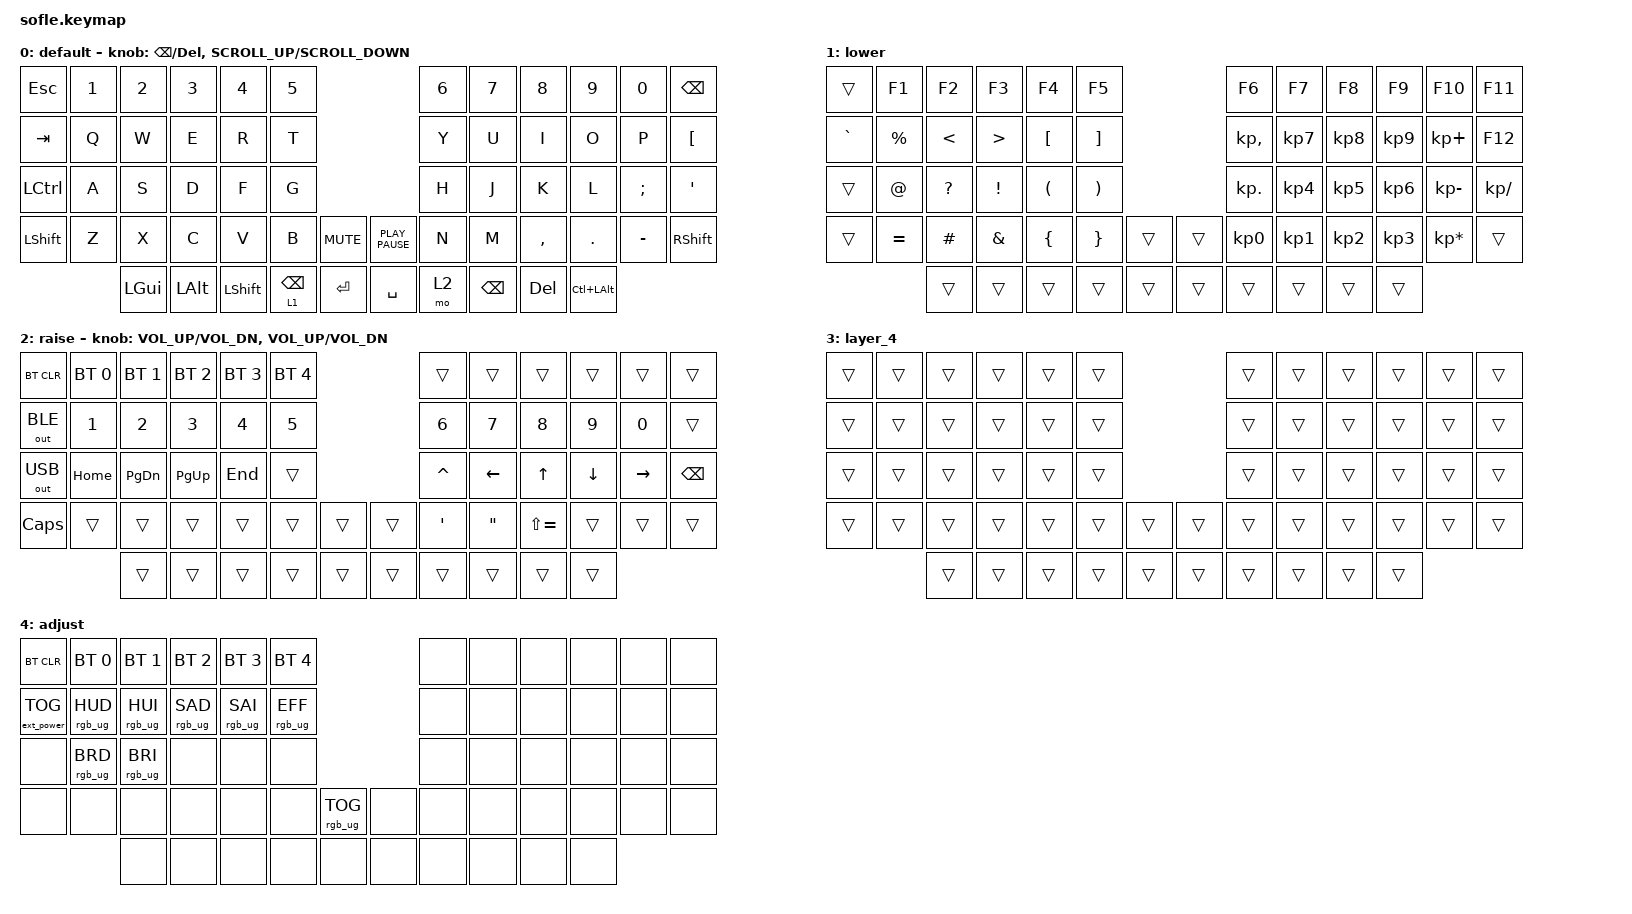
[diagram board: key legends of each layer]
/*
 * Copyright (c) 2020 The ZMK Contributors
 *
 * SPDX-License-Identifier: MIT
 */

#include <behaviors.dtsi>
#include <dt-bindings/zmk/bt.h>
#include <dt-bindings/zmk/ext_power.h>
#include <dt-bindings/zmk/keys.h>
#include <dt-bindings/zmk/rgb.h>
#include <dt-bindings/zmk/outputs.h>

#define BASE 0
#define LOWER 1
#define RAISE 2
#define ADJUST 3

/ {
    // Activate ADJUST layer by pressing raise and lower

    conditional_layers {
        compatible = "zmk,conditional-layers";

        adjust_layer {
            if-layers = <1 2>;
            then-layer = <4>;
        };
    };

    keymap {
        compatible = "zmk,keymap";

        default_layer {
            label = "default";

            // ------------------------------------------------------------------------------------------------------------
            // |   `   |  1  |  2  |  3   |  4   |  5   |                   |  6   |  7    |  8    |  9   |   0   |       |
            // |  ESC  |  Q  |  W  |  E   |  R   |  T   |                   |  Y   |  U    |  I    |  O   |   P   | BKSPC |
            // |  TAB  |  A  |  S  |  D   |  F   |  G   |                   |  H   |  J    |  K    |  L   |   ;   |   '   |
            // | SHIFT |  Z  |  X  |  C   |  V   |  B   |  MUTE  |  |       |  N   |  M    |  ,    |  .   |   /   | SHIFT |
            //               | GUI | ALT  | CTRL | LOWER|  ENTER |  | SPACE | RAISE| CTRL  | ALT   | GUI  |

            bindings = <
&kp ESCAPE  &kp N1  &kp N2        &kp N3    &kp N4      &kp N5                                           &kp N6  &kp N7         &kp N8      &kp N9            &kp N0     &kp BACKSPACE
&kp TAB     &kp Q   &kp W         &kp E     &kp R       &kp T                                            &kp Y   &kp U          &kp I       &kp O             &kp P      &kp LEFT_BRACKET
&kp LCTRL   &kp A   &kp S         &kp D     &kp F       &kp G                                            &kp H   &kp J          &kp K       &kp L             &kp SEMI   &kp SQT
&kp LSHFT   &kp Z   &kp X         &kp C     &kp V       &kp B            &kp C_MUTE    &kp K_PLAY_PAUSE  &kp N   &kp M          &kp COMMA   &kp DOT           &kp MINUS  &kp RSHFT
                    &kp LEFT_GUI  &kp LALT  &kp LSHIFT  &lt 1 BACKSPACE  &kp RET       &kp SPACE         &mo 2   &kp BACKSPACE  &kp DELETE  &kp LC(LEFT_ALT)
            >;

            sensor-bindings =
                <&inc_dec_kp BACKSPACE DELETE>,
                <&inc_dec_kp K_SCROLL_UP K_SCROLL_DOWN>;
        };

        lower_layer {
            label = "lower";

            // TODO: Some binds are waiting for shifted keycode support.
            // ------------------------------------------------------------------------------------------------------------
            // |       |  F1 |  F2 |  F3  |  F4  |  F5  |                   |  F6  |  F7   |  F8   |  F9  |  F10  |  F11  |
            // |   `   |  1  |  2  |  3   |  4   |  5   |                   |  6   |  7    |  8    |  9   |   0   |  F12  |
            // |       |  !  |  @  |  #   |  $   |  %   |                   |  ^   |  &    |  *    |  (   |   )   |   |   |
            // |       |  =  |  -  |  +   |  {   |  }   |        |  |       |  [   |  ]    |  ;    |  :   |   \   |       |
            //               |     |      |      |      |        |  |       |      |       |       |      |

            bindings = <
&trans     &kp F1       &kp F2        &kp F3           &kp F4                &kp F5                                   &kp F6        &kp F7     &kp F8     &kp F9     &kp F10          &kp F11
&kp GRAVE  &kp PERCENT  &kp LT        &kp GT           &kp LEFT_BRACKET      &kp RIGHT_BRACKET                        &kp KP_COMMA  &kp KP_N7  &kp KP_N8  &kp KP_N9  &kp KP_PLUS      &kp F12
&trans     &kp AT_SIGN  &kp QUESTION  &kp EXCLAMATION  &kp LEFT_PARENTHESIS  &kp RIGHT_PARENTHESIS                    &kp KP_DOT    &kp KP_N4  &kp KP_N5  &kp KP_N6  &kp KP_MINUS     &kp KP_DIVIDE
&trans     &kp EQUAL    &kp HASH      &kp AMPERSAND    &kp LBRC              &kp RBRC               &trans    &trans  &kp KP_N0     &kp KP_N1  &kp KP_N2  &kp KP_N3  &kp KP_MULTIPLY  &trans
                        &trans        &trans           &trans                &trans                 &trans    &trans  &trans        &trans     &trans     &trans
            >;
        };

        raise_layer {
            label = "raise";

            // ------------------------------------------------------------------------------------------------------------
            // | BTCLR | BT1  | BT2  |  BT3  |  BT4  |  BT5 |                |      |      |       |      |       |       |
            // |       | INS  | PSCR | GUI   |       |      |                | PGUP |      |   ^   |      |       |       |
            // |       | ALT  | CTRL | SHIFT |       | CAPS |                | PGDN |   <- |   v   |  ->  |  DEL  | BKSPC |
            // |       | UNDO | CUT  | COPY  | PASTE |      |      |  |      |      |      |       |      |       |       |
            //                |      |       |       |      |      |  |      |      |      |       |      |

            bindings = <
&bt BT_CLR   &bt BT_SEL 0  &bt BT_SEL 1   &bt BT_SEL 2  &bt BT_SEL 3  &bt BT_SEL 4                    &trans            &trans             &trans         &trans    &trans     &trans
&out OUT_BLE &kp N1        &kp N2         &kp N3        &kp N4        &kp N5                          &kp N6            &kp N7             &kp N8         &kp N9    &kp N0     &trans
&out OUT_USB &kp HOME      &kp PAGE_DOWN  &kp PG_UP     &kp END       &trans                          &kp CARET         &kp LEFT           &kp UP         &kp DOWN  &kp RIGHT  &kp BSPC
&kp CAPS     &trans        &trans         &trans        &trans        &trans        &trans    &trans  &kp SINGLE_QUOTE  &kp DOUBLE_QUOTES  &kp LS(EQUAL)  &trans    &trans     &trans
                           &trans         &trans        &trans        &trans        &trans    &trans  &trans            &trans             &trans         &trans
            >;

            sensor-bindings =
                <&inc_dec_kp C_VOL_UP C_VOL_DN>,
                <&inc_dec_kp C_VOL_UP C_VOL_DN>;
        };

        layer_4 {
            bindings = <
&trans  &trans  &trans  &trans  &trans  &trans                    &trans  &trans  &trans  &trans  &trans  &trans
&trans  &trans  &trans  &trans  &trans  &trans                    &trans  &trans  &trans  &trans  &trans  &trans
&trans  &trans  &trans  &trans  &trans  &trans                    &trans  &trans  &trans  &trans  &trans  &trans
&trans  &trans  &trans  &trans  &trans  &trans  &trans    &trans  &trans  &trans  &trans  &trans  &trans  &trans
                &trans  &trans  &trans  &trans  &trans    &trans  &trans  &trans  &trans  &trans
            >;
        };

        adjust_layer {
            // ----------------------------------------------------------------------------------------------------------------------------
            // | BTCLR  |  BT1    |  BT2    |   BT3   |   BT4   |   BT5   |                  |      |      |       |      |       |       |
            // | EXTPWR | RGB_HUD | RGB_HUI | RGB_SAD | RGB_SAI | RGB_EFF |                  |      |      |       |      |       |       |
            // |        | RGB_BRD | RGB_BRI |         |         |         |                  |      |      |       |      |       |       |
            // |        |         |         |         |         |         | RGB_TOG | |      |      |      |       |      |       |       |
            //                    |         |         |         |         |         | |      |      |      |       |      |

            label = "adjust";
            bindings = <
&bt BT_CLR         &bt BT_SEL 0     &bt BT_SEL 1     &bt BT_SEL 2     &bt BT_SEL 3     &bt BT_SEL 4                               &none  &none  &none  &none  &none  &none
&ext_power EP_TOG  &rgb_ug RGB_HUD  &rgb_ug RGB_HUI  &rgb_ug RGB_SAD  &rgb_ug RGB_SAI  &rgb_ug RGB_EFF                            &none  &none  &none  &none  &none  &none
&none              &rgb_ug RGB_BRD  &rgb_ug RGB_BRI  &none            &none            &none                                      &none  &none  &none  &none  &none  &none
&none              &none            &none            &none            &none            &none            &rgb_ug RGB_TOG    &none  &none  &none  &none  &none  &none  &none
                                    &none            &none            &none            &none            &none              &none  &none  &none  &none  &none
            >;
        };
    };
};
